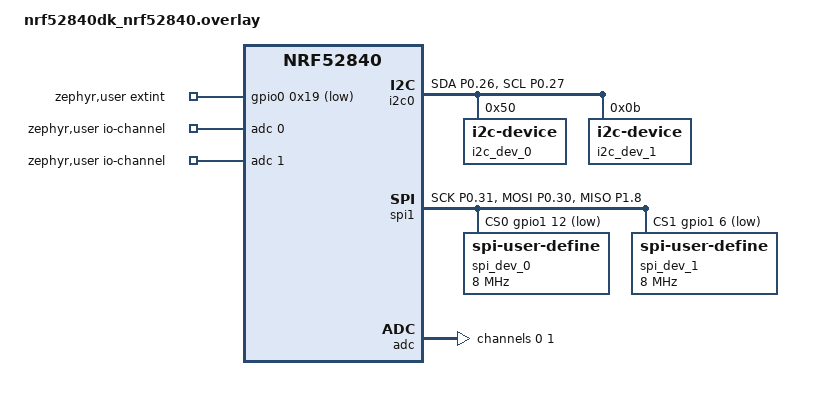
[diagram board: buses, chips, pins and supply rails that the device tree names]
/* overlay file for nRF52840 */
/ {
	chosen {
		nordic,pm-ext-flash = &mx25r64;
	};
	aliases {
		myi2c = &i2c0;
		myspi = &spi1;
		myuart = &uart1; 
	};			
	/* See &GPIO0 definition below */
	zephyr,user {
		io-channels = <&adc 0>, <&adc 1>;
		extint-gpios = <&gpio0 0x19 GPIO_ACTIVE_LOW>;
	};		
};

&uicr {
	nfct-pins-as-gpios;
};

&pinctrl {
	// uart0_default: uart0_default {
	// 	group1 {
	// 		psels = <NRF_PSEL(UART_TX, 1, 2)>;			
	// 	};
	// 	group2 {
	// 		psels = <NRF_PSEL(UART_RX, 1, 1)>;		
	// 		bias-pull-up;
	// 	};
	// };

	// uart0_sleep: uart0_sleep {
	// 	group1 {
	// 		psels = <NRF_PSEL(UART_TX, 1, 2)>,
	// 				<NRF_PSEL(UART_RX, 1, 1)>;
	// 		low-power-enable;
	// 	};
	// };

	// uart1_default: uart1_default {
	// 	group1 {
	// 		psels = <NRF_PSEL(UART_TX, 0, 6)>;
	// 	};
	// 	group2 {
	// 		psels = <NRF_PSEL(UART_RX, 0, 8)>;
	// 		bias-pull-up;
	// 	};
	// };

	// uart1_sleep: uart1_sleep {
	// 	group1 {
	// 		psels = <NRF_PSEL(UART_TX, 0, 6)>,
	// 			<NRF_PSEL(UART_RX, 0, 8)>;
	// 		low-power-enable;
	// 	};
	// };

	i2c0_default: i2c0_default {
		group1 {
			psels = <NRF_PSEL(TWIM_SDA, 0, 26)>,
				<NRF_PSEL(TWIM_SCL, 0, 27)>;
			bias-pull-up;
			nordic,drive-mode = <NRF_DRIVE_S0D1>;				
		};
	};

	i2c0_sleep: i2c0_sleep {
		group1 {
			psels = <NRF_PSEL(TWIM_SDA, 0, 26)>,
				<NRF_PSEL(TWIM_SCL, 0, 27)>;
			low-power-enable;
		};
	};	

	spi1_default: spi1_default {
		group1 {
			psels = <NRF_PSEL(SPIM_SCK, 0, 31)>,
				<NRF_PSEL(SPIM_MOSI, 0, 30)>,
				<NRF_PSEL(SPIM_MISO, 1, 8)>;
		};
	};

	spi1_sleep: spi1_sleep {
		group1 {
			psels = <NRF_PSEL(SPIM_SCK, 0, 31)>,
				<NRF_PSEL(SPIM_MOSI, 0, 30)>,
				<NRF_PSEL(SPIM_MISO, 1, 8)>;
			low-power-enable;
		};
	};
};


// &uart0 {
// 	compatible = "nordic,nrf-uarte";
// 	status = "okay";
// 	current-speed = < 115200 >;
// 	pinctrl-0 = < &uart0_default >;
// 	pinctrl-1 = < &uart0_sleep >;
// 	pinctrl-names = "default", "sleep";	
// 	/* delete rts-pin&cts-pin to release the related 2 pins for other uses */
// 	/delete-property/ rts-pin;
// 	/delete-property/ cts-pin;
// };

// &uart1 {
// 	status = "okay";
// 	current-speed = < 1000000 >;
// 	// pinctrl-0 = < &uart1_default >;
// 	// pinctrl-1 = < &uart1_sleep >;
// 	// pinctrl-names = "default", "sleep";
// };

&i2c0 {
	status = "okay";
	compatible = "nordic,nrf-twim";
	pinctrl-0 = < &i2c0_default >;
	pinctrl-1 = < &i2c0_sleep >;
	pinctrl-names = "default", "sleep";
	i2c_dev_0: i2c_dev_0@50 {
		compatible = "i2c-device";
		reg = <0x50>;
	};
	i2c_dev_1: i2c_dev_1@b {
		compatible = "i2c-device";
		reg = <0x0B>;
	}; 	
};

&spi0 {
	status = "disabled";
};

&spi1 {
	status = "okay"; 
	compatible = "nordic,nrf-spim";
	pinctrl-0 = <&spi1_default>;
	pinctrl-1 = <&spi1_sleep>;
	pinctrl-names = "default", "sleep";
	cs-gpios = <&gpio1 12 GPIO_ACTIVE_LOW>, <&gpio1 6 GPIO_ACTIVE_LOW>;
	spi_dev_0: spi_dev_0@0 {
		compatible = "spi-user-define";
		reg = <0>;
		spi-max-frequency = <DT_FREQ_M(8)>;
	}; 
	spi_dev_1: spi_dev_1@1 {
		compatible = "spi-user-define";
		reg = <1>;
		spi-max-frequency = <DT_FREQ_M(8)>;
	};    			   	

};

&i2c1 {
	status = "disabled";
};

&adc {
	status = "okay";
	#address-cells = <1>;
	#size-cells = <0>;

	channel@0 {
		reg = <0>;
		zephyr,gain = "ADC_GAIN_1_6";
		zephyr,reference = "ADC_REF_INTERNAL";
		zephyr,acquisition-time = <ADC_ACQ_TIME(ADC_ACQ_TIME_MICROSECONDS, 20)>;
		zephyr,input-positive = <NRF_SAADC_AIN0>;
		zephyr,vref-mv = <600>;
		zephyr,resolution = <10>;						
	};
	
	channel@1 {
		reg = <1>;
		zephyr,gain = "ADC_GAIN_1_6";
		zephyr,reference = "ADC_REF_INTERNAL";
		zephyr,acquisition-time = <ADC_ACQ_TIME(ADC_ACQ_TIME_MICROSECONDS, 20)>;
		zephyr,input-positive = <NRF_SAADC_VDD>;
		zephyr,vref-mv = <600>;
		zephyr,resolution = <10>;					
	};

};

/* delete sw3 to reserve the related pin for GPIO use */
/ {
	aliases {  
	 /delete-property/ sw3;
	};
  };

/delete-node/ &button3;

/delete-node/ &storage_partition;
&flash0{
		partitions {
			compatible = "fixed-partitions";
			#address-cells = < 0x1 >;
			#size-cells = < 0x1 >;

			storage_partition: partition@fc000 {
				label = "storage";
				reg = < 0xfc000 0x4000 >;
			};
		};
};

&gpio0 {
	/* pin 0x19 sense for edge */
	sense-edge-mask = <0x2000000>;
};
